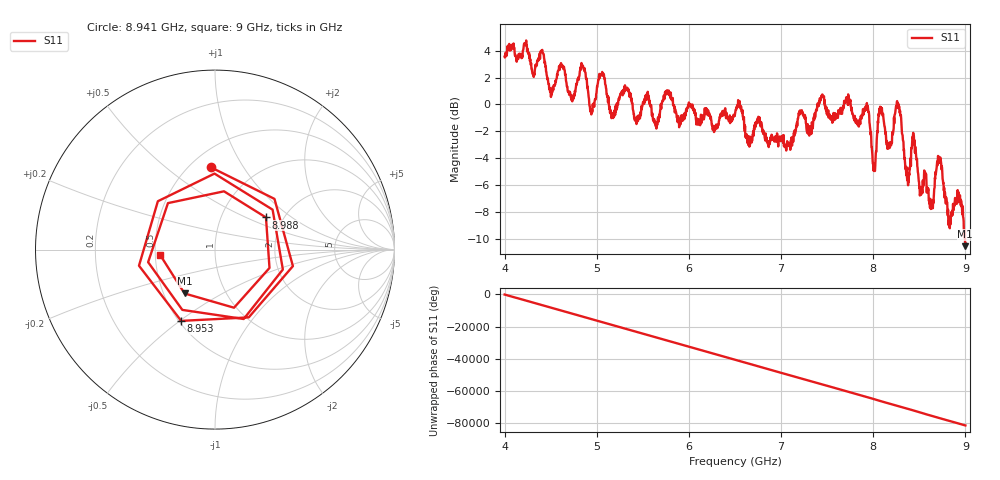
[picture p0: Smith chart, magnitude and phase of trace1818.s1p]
! Created with skrf 1.8.0 (http://scikit-rf.org).
# Hz S RI R 50.0
!freq ReS11 ImS11
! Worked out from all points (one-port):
!   1601 points, 4 GHz to 9 GHz, reference 50 ohm
!   lowest |S11| = -10.5 dB at 8.997 GHz (marker M1), VSWR 1.85, Z = 31.9 - j17.1 ohm
!   |S11| at or under -10 dB: 8.995652 GHz to end of sweep
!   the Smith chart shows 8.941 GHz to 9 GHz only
!   S11 on the Smith chart (normalised r, x): 8.941 GHz: 0.63, +0.73; 8.953 GHz: 0.51, -0.51; 8.988 GHz: 1.63, +0.66; 9 GHz: 0.53, -0.04
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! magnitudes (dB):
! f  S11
! 4 GHz  3.6
! 4.509 GHz  0.7
! 4.625 GHz  2.9
! 4.734 GHz  0.2
! 4.853 GHz  2.8
! 4.947 GHz  -0.3
! 5.05 GHz  2.2
! 5.162 GHz  -0.9
! 5.25 GHz  0.6
! 5.875 GHz  -1.1
! 6.5 GHz  -0.7
! 7.125 GHz  -2.4
! 7.75 GHz  0.2
! 7.938 GHz  -0.3
! 8.009 GHz  -4.7
! 8.075 GHz  -0.2
! 8.178 GHz  -3.2
! 8.269 GHz  -0.3
! 8.375 GHz  -5.5
! 8.438 GHz  -2.4
! 8.628 GHz  -7.3
! 8.712 GHz  -3.9
! 8.831 GHz  -9.2
! 8.941 GHz  -6.7
! 8.953 GHz  -7.1
! 8.988 GHz  -9.5
! 8.997 GHz  -10.5
! 9 GHz  -10.3
